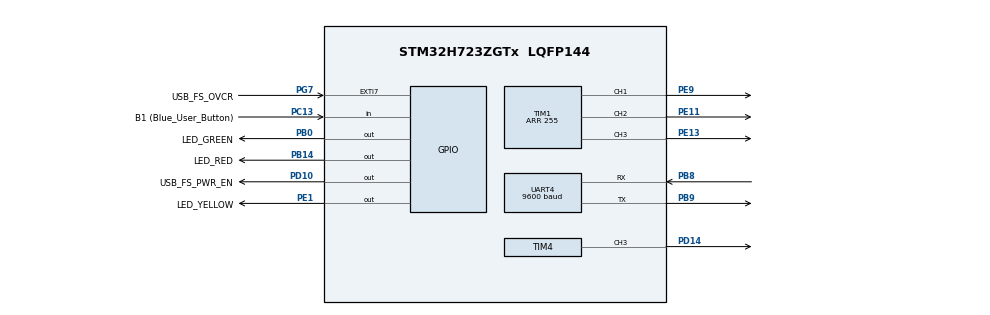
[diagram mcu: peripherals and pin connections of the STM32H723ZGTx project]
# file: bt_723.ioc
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Dma.Request0=TIM4_CH3
Dma.TIM4_CH3.0.Direction=DMA_MEMORY_TO_PERIPH
Dma.TIM4_CH3.0.EventEnable=DISABLE
Dma.TIM4_CH3.0.FIFOMode=DMA_FIFOMODE_DISABLE
Dma.TIM4_CH3.0.Instance=DMA1_Stream0
Dma.TIM4_CH3.0.MemDataAlignment=DMA_MDATAALIGN_HALFWORD
Dma.TIM4_CH3.0.MemInc=DMA_MINC_ENABLE
Dma.TIM4_CH3.0.Mode=DMA_NORMAL
Dma.TIM4_CH3.0.PeriphDataAlignment=DMA_PDATAALIGN_HALFWORD
Dma.TIM4_CH3.0.PeriphInc=DMA_PINC_DISABLE
Dma.TIM4_CH3.0.Polarity=HAL_DMAMUX_REQ_GEN_RISING
Dma.TIM4_CH3.0.Priority=DMA_PRIORITY_LOW
Dma.TIM4_CH3.0.RequestNumber=1
Dma.TIM4_CH3.0.SignalID=NONE
Dma.TIM4_CH3.0.SyncEnable=DISABLE
Dma.TIM4_CH3.0.SyncPolarity=HAL_DMAMUX_SYNC_NO_EVENT
Dma.TIM4_CH3.0.SyncRequestNumber=1
Dma.TIM4_CH3.0.SyncSignalID=NONE
Mcu.Family=STM32H7
Mcu.Name=STM32H723ZGTx
Mcu.Package=LQFP144
NVIC.DMA1_Stream0_IRQn=true\:0\:0\:false\:false\:true\:false\:true\:true
NVIC.PriorityGroup=NVIC_PRIORITYGROUP_4
NVIC.TIM4_IRQn=true\:0\:0\:false\:false\:true\:true\:true\:true
NVIC.UART4_IRQn=true\:0\:0\:false\:false\:true\:true\:true\:true
PA13(JTMS/SWDIO).GPIO_Label=SWDIO
PA13(JTMS/SWDIO).Mode=Trace_Asynchronous_SW
PA13(JTMS/SWDIO).Signal=DEBUG_JTMS-SWDIO
PA14(JTCK/SWCLK).GPIO_Label=SWCLK
PA14(JTCK/SWCLK).Mode=Trace_Asynchronous_SW
PA14(JTCK/SWCLK).Signal=DEBUG_JTCK-SWCLK
PB0.GPIO_Label=LED_GREEN
PB0.Signal=GPIO_Output
PB14.GPIO_Label=LED_RED
PB14.Signal=GPIO_Output
PB3(JTDO/TRACESWO).GPIO_Label=SWO
PB3(JTDO/TRACESWO).Mode=Trace_Asynchronous_SW
PB3(JTDO/TRACESWO).Signal=DEBUG_JTDO-SWO
PB8.Mode=Asynchronous
PB8.Signal=UART4_RX
PB9.Mode=Asynchronous
PB9.Signal=UART4_TX
PC13.GPIO_Label=B1 (Blue_User_Button)
PC13.Signal=GPIO_Input
PC14-OSC32_IN.Mode=LSE-External-Oscillator
PC14-OSC32_IN.Signal=RCC_OSC32_IN
PC15-OSC32_OUT.Mode=LSE-External-Oscillator
PC15-OSC32_OUT.Signal=RCC_OSC32_OUT
PD10.GPIO_Label=USB_FS_PWR_EN
PD10.Signal=GPIO_Output
PD14.Signal=S_TIM4_CH3
PD15.Signal=S_TIM4_CH4
PE1.GPIO_Label=LED_YELLOW
PE1.Signal=GPIO_Output
PE11.Signal=S_TIM1_CH2
PE13.Signal=S_TIM1_CH3
PE9.Signal=S_TIM1_CH1
PG12.Signal=USART10_TX
PG7.GPIO_Label=USB_FS_OVCR
PG7.Signal=GPXTI7
PH0-OSC_IN.GPIO_Label=MCO
PH0-OSC_IN.Mode=HSE-External-Oscillator
PH0-OSC_IN.Signal=RCC_OSC_IN
PH1-OSC_OUT.Mode=HSE-External-Oscillator
PH1-OSC_OUT.Signal=RCC_OSC_OUT
ProjectManager.HeapSize=0x200
ProjectManager.StackSize=0x400
ProjectManager.TargetToolchain=STM32CubeIDE
RCC.ADCFreq_Value=76000000
RCC.APB1Freq_Value=24000000
RCC.APB2Freq_Value=24000000
RCC.APB3Freq_Value=24000000
RCC.APB4Freq_Value=24000000
RCC.CortexFreq_Value=96000000
RCC.D1CPRE=RCC_SYSCLK_DIV2
RCC.D1PPRE=RCC_APB3_DIV2
RCC.D2PPRE1=RCC_APB1_DIV2
RCC.D2PPRE2=RCC_APB2_DIV2
RCC.D3PPRE=RCC_APB4_DIV2
RCC.DIVM1=2
RCC.DIVM2=1
RCC.DIVN1=48
RCC.DIVN2=19
RCC.DIVP1=1
RCC.DIVQ1=4
RCC.HCLKFreq_Value=48000000
RCC.HPRE=RCC_HCLK_DIV2
RCC.HSE_VALUE=8000000
RCC.PLLFRACN=0
RCC.PLLSourceVirtual=RCC_PLLSOURCE_HSE
RCC.SYSCLKFreq_VALUE=192000000
RCC.SYSCLKSource=RCC_SYSCLKSOURCE_PLLCLK
RCC.USBCLockSelection=RCC_USBCLKSOURCE_HSI48
RCC.USBFreq_Value=48000000
SH.S_TIM1_CH1.0=TIM1_CH1,PWM Generation1 CH1
SH.S_TIM1_CH2.0=TIM1_CH2,PWM Generation2 CH2
SH.S_TIM1_CH3.0=TIM1_CH3,PWM Generation3 CH3
SH.S_TIM4_CH3.0=TIM4_CH3,PWM Generation3 CH3
SH.S_TIM4_CH4.0=TIM4_CH4
TIM1.Channel-PWM\ Generation1\ CH1=TIM_CHANNEL_1
TIM1.Channel-PWM\ Generation2\ CH2=TIM_CHANNEL_2
TIM1.Channel-PWM\ Generation3\ CH3=TIM_CHANNEL_3
TIM1.Period=255
TIM4.Channel-PWM\ Generation3\ CH3=TIM_CHANNEL_3
TIM4.Period=60-1
UART4.BaudRate=9600
VP_TIM4_VS_ClockSourceINT.Mode=Internal
board=NUCLEO-H723ZG

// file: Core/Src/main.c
/* USER CODE BEGIN Header */
/**
 ******************************************************************************
 * @file           : main.c
 * @brief          : Main program body
 ******************************************************************************
 * @attention
 *
 * Copyright (c) 2024 STMicroelectronics.
 * All rights reserved.
 *
 * This software is licensed under terms that can be found in the LICENSE file
 * in the root directory of this software component.
 * If no LICENSE file comes with this software, it is provided AS-IS.
 *
 ******************************************************************************
 */
/* USER CODE END Header */
#include "main.h"

/* USER CODE BEGIN Includes */
#include "string.h"
#include "stdio.h"
#include "string.h"
#include <stdlib.h>
#include "math.h"

/* USER CODE END Includes */

/* USER CODE BEGIN PD */
#define BUFFER_SIZE 64
#define MAX_LED 8
#define USE_BRIGHTNESS 1
#define PI 3.14159265

/* USER CODE END PD */

TIM_HandleTypeDef htim1;
TIM_HandleTypeDef htim4;
DMA_HandleTypeDef hdma_tim4_ch3;

UART_HandleTypeDef huart4;

/* USER CODE BEGIN PV */
uint8_t message[] = "Hello Bluetooth!";
uint8_t Data_USART[BUFFER_SIZE];
uint16_t write_index_USART = 0;
uint8_t LED_Data[MAX_LED][4];
uint8_t LED_Mod[MAX_LED][4];  // for brightness
uint16_t effStep = 0;
uint16_t pwmData[(24*MAX_LED)+50]; //uint16_t pwmData[(24*MAX_LED)+50];
uint16_t effStart =0;

int datasentflag=0;

/* USER CODE END PV */

void SystemClock_Config(void);
static void MX_GPIO_Init(void);
static void MX_DMA_Init(void);
static void MX_TIM4_Init(void);
static void MX_TIM1_Init(void);
static void MX_UART4_Init(void);
/* USER CODE BEGIN PFP */
void SetRGB(uint8_t red, uint8_t green, uint8_t blue);
void ParseAndSetRGB(uint8_t *data);
void Set_LED(int LEDnum, int Red, int Green, int Blue);
void Set_Brightness(int brightness);
void WS2812_Send(void);
void Reset_LED(void);
uint8_t rainbow_effect_left(void);
//uint8_t rainbow_effect_right(void);
/* USER CODE END PFP */

/* USER CODE BEGIN 0 */

void HAL_UARTEx_RxEventCallback(UART_HandleTypeDef *huart, uint16_t Size)
{

	if (huart->Instance == UART4) // UART connection with Bluetooth
	{
		Data_USART[Size] = '\0'; // Null-terminate the received string
		HAL_UARTEx_ReceiveToIdle_IT(&huart4, Data_USART , BUFFER_SIZE );
		ParseAndSetRGB(Data_USART);
		// Continue receiving data in interrupt mode
		if(Data_USART[0]>0 && Data_USART[0]<=84 ){
			HAL_GPIO_WritePin(LED_GREEN_GPIO_Port, LED_GREEN_Pin, GPIO_PIN_SET);
			HAL_GPIO_WritePin(LED_YELLOW_GPIO_Port, LED_YELLOW_Pin, GPIO_PIN_RESET);
			HAL_GPIO_WritePin(LED_RED_GPIO_Port, LED_RED_Pin, GPIO_PIN_RESET);
		}
		else if(Data_USART[0]>=85 && Data_USART[0]<=169 )
		{
			HAL_GPIO_WritePin(LED_GREEN_GPIO_Port, LED_GREEN_Pin, GPIO_PIN_RESET);
			HAL_GPIO_WritePin(LED_YELLOW_GPIO_Port, LED_YELLOW_Pin, GPIO_PIN_SET);
			HAL_GPIO_WritePin(LED_RED_GPIO_Port, LED_RED_Pin, GPIO_PIN_RESET);
		}
		else if(Data_USART[0]>=170 && Data_USART[0]<=255 ){
			HAL_GPIO_WritePin(LED_GREEN_GPIO_Port, LED_GREEN_Pin, GPIO_PIN_RESET);
			HAL_GPIO_WritePin(LED_YELLOW_GPIO_Port, LED_YELLOW_Pin, GPIO_PIN_RESET);
			HAL_GPIO_WritePin(LED_RED_GPIO_Port, LED_RED_Pin, GPIO_PIN_SET);
		}else{
			HAL_GPIO_WritePin(LED_GREEN_GPIO_Port, LED_GREEN_Pin, GPIO_PIN_SET);
			HAL_GPIO_WritePin(LED_YELLOW_GPIO_Port, LED_YELLOW_Pin, GPIO_PIN_SET);
			HAL_GPIO_WritePin(LED_RED_GPIO_Port, LED_RED_Pin, GPIO_PIN_SET);
			HAL_Delay(250);
			HAL_GPIO_WritePin(LED_GREEN_GPIO_Port, LED_GREEN_Pin, GPIO_PIN_RESET);
			HAL_GPIO_WritePin(LED_YELLOW_GPIO_Port, LED_YELLOW_Pin, GPIO_PIN_RESET);
			HAL_GPIO_WritePin(LED_RED_GPIO_Port, LED_RED_Pin, GPIO_PIN_RESET);
			HAL_Delay(250);
		}
	}

}
void SendDataToBluetooth(uint8_t *data, uint16_t size)
{
	HAL_UART_Transmit(&huart4, data, size, HAL_MAX_DELAY);
}

void SetRGB(uint8_t red, uint8_t green, uint8_t blue)
{
	/*
	 *    HAL_TIM_PWM_Start(&htim1, TIM_CHANNEL_1);
  	  	  HAL_TIM_PWM_Start(&htim3, TIM_CHANNEL_1);
  	  	  HAL_TIM_PWM_Start(&htim15, TIM_CHANNEL_2);
	 */
	__HAL_TIM_SET_COMPARE(&htim1, TIM_CHANNEL_1, red);
	__HAL_TIM_SET_COMPARE(&htim1, TIM_CHANNEL_2, green);
	__HAL_TIM_SET_COMPARE(&htim1, TIM_CHANNEL_3, blue);
}

void HAL_TIM_PWM_PulseFinishedCallback(TIM_HandleTypeDef *htim)
{
	HAL_TIM_PWM_Stop_DMA(&htim4, TIM_CHANNEL_3);
	datasentflag=1;
}

void Set_LED (int LEDnum, int Red, int Green, int Blue)//int LEDnum, int Red, int Green, int Blue
{
	LED_Data[LEDnum][0] = LEDnum;
	LED_Data[LEDnum][1] = Green;
	LED_Data[LEDnum][2] = Red;
	LED_Data[LEDnum][3] = Blue;
}

void Set_Brightness (int brightness)  // 0-45
{
#if USE_BRIGHTNESS

	if (brightness > 45) brightness = 45;
	for (int i=0; i<MAX_LED; i++)
	{
		LED_Mod[i][0] = LED_Data[i][0];
		for (int j=1; j<4; j++)
		{
			float angle = 90-brightness;  // in degrees
			angle = angle*PI / 180;  // in rad
			LED_Mod[i][j] = (LED_Data[i][j])/(tan(angle));
		}
	}

#endif

}

void WS2812_Send (void)
{
	uint32_t indx=0;
	uint32_t color;

	for (int i= 0; i<MAX_LED; i++)
	{
		color = ((LED_Data[i][1]<<16) | (LED_Data[i][2]<<8) | (LED_Data[i][3]));

		for (int j=23; j>=0; j--)
		{
			if (color & (1<<j))
			{
				pwmData[indx] = 40;
			}
			else
			{
				pwmData[indx] = 20;
			}
			indx++;
		}
	}

	for (int i=0; i<50; i++)
	{
		pwmData[indx] = 0;
		indx++;
	}

	HAL_TIM_PWM_Start_DMA(&htim4, TIM_CHANNEL_3, (uint32_t *)pwmData, indx);
	while (!datasentflag) {};
	datasentflag = 0;
}

void Reset_LED (void)
{
	for (int i=0; i<MAX_LED; i++)
	{
		LED_Data[i][0] = i;
		LED_Data[i][1] = 0;
		LED_Data[i][2] = 0;
		LED_Data[i][3] = 0;
	}
}

// ported from the arduino code for 8 LEDs located at ->>>>  https://adrianotiger.github.io/Neopixel-Effect-Generator/

uint8_t rainbow_effect_left() {
	float factor1, factor2;
	uint16_t ind;
	for(uint16_t j=0;j<8;j++) {
		ind = effStep + j * 1.625;
		switch((int)((ind % 13) / 4.333333333333333)) {
		case 0: factor1 = 1.0 - ((float)(ind % 13 - 0 * 4.333333333333333) / 4.333333333333333);
		factor2 = (float)((int)(ind - 0) % 13) / 4.333333333333333;
		/************ chnaged here *********/
		Set_LED(j, 255 * factor1 + 0 * factor2, 0 * factor1 + 255 * factor2, 0 * factor1 + 0 * factor2);
		WS2812_Send();
		break;
		case 1: factor1 = 1.0 - ((float)(ind % 13 - 1 * 4.333333333333333) / 4.333333333333333);
		factor2 = (float)((int)(ind - 4.333333333333333) % 13) / 4.333333333333333;
		Set_LED(j, 0 * factor1 + 0 * factor2, 255 * factor1 + 0 * factor2, 0 * factor1 + 255 * factor2);
		WS2812_Send();
		break;
		case 2: factor1 = 1.0 - ((float)(ind % 13 - 2 * 4.333333333333333) / 4.333333333333333);
		factor2 = (float)((int)(ind - 8.666666666666666) % 13) / 4.333333333333333;
		Set_LED(j, 0 * factor1 + 255 * factor2, 0 * factor1 + 0 * factor2, 255 * factor1 + 0 * factor2);
		WS2812_Send();
		break;
		}
	}
	if(effStep >= 13) {effStep=0; return 0x03; }
	else effStep++;
	return 0x01;
}

uint8_t led_red(){
	uint8_t r,g,b;
	double e;
	e = (effStep * 1) / (double)100;
	r = ( e ) * 255 + 255 * ( 1.0 - e );
	g = ( e ) * 0 + 0 * ( 1.0 - e );
	b = ( e ) * 0 + 0 * ( 1.0 - e );
	for(uint16_t j=0;j<8;j++) {
		if((j % 1) == 0){
			Set_LED(j, r, g, b);
			WS2812_Send();}
		else{
			Set_LED(j, 0, 0, 0);
			WS2812_Send();}
	}
	if(effStep >= 100) {effStep=0; return 0x03; }
	else effStep++;
	return 0x01;

}

uint8_t led_green()
{
	uint8_t e,r,g,b;
	if(effStep < 144.8) {
		for(uint16_t j=0;j<8;j++)
			Set_LED(j, 0, 255, 0);
		WS2812_Send();
	}
	else if(effStep  < 151.8) {
		e = (effStep * 5) - 724;
		r = 0 * ( e / 35 ) + 0 * ( 1.0 - e / 35 );
		g = 255 * ( e / 35 ) + 255 * ( 1.0 - e / 35 );
		b = 17 * ( e / 35 ) + 0 * ( 1.0 - e / 35 );
		for(uint16_t j=0;j<8;j++)
			if((j%1)==0) {Set_LED(j, r, g, b);
			WS2812_Send();}
			else
			{Set_LED(j, 0, 255, 0);
			WS2812_Send();}
	}
	else if(effStep < 152) {
		for(uint16_t j=0;j<8;j++)
			if((j%1)==0){ Set_LED(j, 0, 255, 17);
			WS2812_Send();}
			else {Set_LED(j, 0, 255, 0);WS2812_Send();}
	}
	else if(effStep < 154) {
		e = (effStep * 5) - 760;
		r = 0 * ( e / 10 ) + 0 * ( 1.0 - e / 10 );
		g = 255 * ( e / 10 ) + 255 * ( 1.0 - e / 10 );
		b = 0 * ( e / 10 ) + 17 * ( 1.0 - e / 10 );
		for(uint16_t j=0;j<8;j++)
			if((j%1)==0){ Set_LED(j, r, g, b);
			WS2812_Send();}
			else{ Set_LED(j, 0, 255, 0);WS2812_Send();}
	}
	else {
		for(uint16_t j=0;j<8;j++)
			Set_LED(j, 0, 255, 0);
		WS2812_Send();
	}
	if(effStep >= 174) {effStep=0; return 0x03; }
	else effStep++;
	return 0x01;

}

uint8_t led_blue()
{
	uint8_t e,r,g,b;
	if(effStep < 144.8) {
		for(uint16_t j=0;j<8;j++)
			Set_LED(j, 0, 0, 255);
		WS2812_Send();
	}
	else if(effStep  < 151.8) {
		e = (effStep * 5) - 724;
		r = 0 * ( e / 35 ) + 0 * ( 1.0 - e / 35 );
		g = 0 * ( e / 35 ) + 0 * ( 1.0 - e / 35 );
		b = 255 * ( e / 35 ) + 255 * ( 1.0 - e / 35 );
		for(uint16_t j=0;j<8;j++)
			if((j%1)==0) {Set_LED(j, r, g, b);
			WS2812_Send();}
			else {Set_LED(j, 0, 0, 255);WS2812_Send();}
	}
	else if(effStep < 152) {
		for(uint16_t j=0;j<8;j++)
			if((j%1)==0){ Set_LED(j, 0, 0, 255);WS2812_Send();}
			else {Set_LED(j, 0, 0, 255);WS2812_Send();}
	}
	else if(effStep < 154) {
		e = (effStep * 5) - 760;
		r = 0 * ( e / 10 ) + 0 * ( 1.0 - e / 10 );
		g = 0 * ( e / 10 ) + 0 * ( 1.0 - e / 10 );
		b = 255 * ( e / 10 ) + 255 * ( 1.0 - e / 10 );
		for(uint16_t j=0;j<8;j++)
			if((j%1)==0) {Set_LED(j, r, g, b);WS2812_Send();}
			else {Set_LED(j, 0, 0, 255);WS2812_Send();}
	}
	else {
		for(uint16_t j=0;j<8;j++)
		{Set_LED(j, 0, 0, 255);WS2812_Send();}
	}
	if(effStep >= 174) {effStep=0; return 0x03; }
	else effStep++;
	return 0x01;
}

uint8_t led_magenta(){
	  uint8_t e,r,g,b;
	  if(effStep < 10) {
	    for(uint16_t j=0;j<8;j++) {
	    	Set_LED(j, 0, 179, 18);WS2812_Send();}
	  }
	  else if(effStep  < 12) {
	    e = (effStep * 5) - 50;
	    r = 0 * ( e / 10 ) + 0 * ( 1.0 - e / 10 );
	    g = 179 * ( e / 10 ) + 179 * ( 1.0 - e / 10 );
	    b = 18 * ( e / 10 ) + 18 * ( 1.0 - e / 10 );
	    for(uint16_t j=0;j<8;j++)
	      if((j%1)==0) {Set_LED(j, r, g, b);WS2812_Send();}
	      else {Set_LED(j, 0, 179, 18);WS2812_Send();}
	  }
	  else if(effStep < 14) {
	    for(uint16_t j=0;j<8;j++)
	      if((j%1)==0){ Set_LED(j, 0, 179, 18);WS2812_Send();}
	      else {Set_LED(j, 0, 179, 18);WS2812_Send();}
	  }
	  else if(effStep < 16) {
	    e = (effStep * 5) - 70;
	    r = 0 * ( e / 10 ) + 0 * ( 1.0 - e / 10 );
	    g = 179 * ( e / 10 ) + 179 * ( 1.0 - e / 10 );
	    b = 18 * ( e / 10 ) + 18 * ( 1.0 - e / 10 );
	    for(uint16_t j=0;j<8;j++)
	      if((j%1)==0){ Set_LED(j, r, g, b);WS2812_Send();}
	      else{ Set_LED(j, 0, 179, 18);WS2812_Send();}
	  }
	  else {
	    for(uint16_t j=0;j<8;j++)
	    	{Set_LED(j, 0, 179, 18);WS2812_Send();}
	  }
	  if(effStep >= 36) {effStep=0; return 0x03; }
	  else effStep++;
	  return 0x01;
}

uint8_t led_fade()
{
	uint8_t r,g,b;
	  double e;
	  e = (effStep * 1) / (double)587;
	  r = ( e ) * 113 + 207 * ( 1.0 - e );
	  g = ( e ) * 255 + 78 * ( 1.0 - e );
	  b = ( e ) * 159 + 0 * ( 1.0 - e );
	  for(uint16_t j=0;j<8;j++) {
	    if((j % 1) == 0){
	    	Set_LED(j, r, g, b);WS2812_Send();}
	    else{
	    	Set_LED(j, 0, 0, 0);WS2812_Send();}
	  }
	  if(effStep >= 587) {effStep=0; return 0x03; }
	  else effStep++;
	  return 0x01;

}

void ParseAndSetRGB(uint8_t *data)
{
	char *token;
	uint8_t rgb[3];
	int i = 0;

	token = strtok((char *)data, ",");
	while (token != NULL && i < 3)
	{
		rgb[i++] = atoi(token);
		token = strtok(NULL, ",");
	}

	if (i == 3) // Ensure we have all three RGB values
	{
		SetRGB(rgb[0], rgb[1], rgb[2]);
		for(int k=0;k<9;k++){
		Set_LED(k,rgb[0], rgb[1], rgb[2]);
		}
		WS2812_Send();
	}
}
/* USER CODE END 0 */

 int main(void)
{

	/* MCU Configuration--------------------------------------------------------*/

	 /* Reset of all peripherals, Initializes the Flash interface and the Systick. */
	 HAL_Init();

	 /* Configure the system clock */
	 SystemClock_Config();

	 /* Initialize all configured peripherals */
	 MX_GPIO_Init();
	 MX_DMA_Init();
	 MX_TIM4_Init();
	 MX_TIM1_Init();
	 MX_UART4_Init();
	 /* USER CODE BEGIN 2 */
	 HAL_UARTEx_ReceiveToIdle_IT(&huart4, Data_USART, BUFFER_SIZE);
	 HAL_TIM_PWM_Start(&htim1, TIM_CHANNEL_1);
	 HAL_TIM_PWM_Start(&htim1, TIM_CHANNEL_2);
	 HAL_TIM_PWM_Start(&htim1, TIM_CHANNEL_3);
	 Reset_LED();
//	  Set_LED(0, 255, 0, 0);
//	  Set_LED(1, 0, 255, 0);
//	  Set_LED(2, 0, 0, 255);
//
//	  Set_LED(3, 46, 89, 128);
//
//	  Set_LED(4, 156, 233, 100);
//	  Set_LED(5, 102, 0, 235);
//	  Set_LED(6, 47, 38, 77);
//
//	  Set_LED(7, 255, 200, 0);

	 Set_Brightness(5);  // 0-45
	 WS2812_Send();

	 /* USER CODE END 2 */

	 /* Infinite loop */
	 while (1)
	 {
		 //rainbow_effect_right();
		 //rainbow_effect_left();
		 //led_red();
		 //led_green();
		 //led_blue();
		// led_magenta();
	//led_fade();
		 /* USER CODE BEGIN 3 */
		 ParseAndSetRGB(Data_USART);
		 Reset_LED();

	 }
	 /* USER CODE END 3 */
}

 /**
  * @brief System Clock Configuration
  * @retval None
  */
 void SystemClock_Config(void)
 {
	 RCC_OscInitTypeDef RCC_OscInitStruct = {0};
	 RCC_ClkInitTypeDef RCC_ClkInitStruct = {0};

	 /** Supply configuration update enable
	  */
	 HAL_PWREx_ConfigSupply(PWR_LDO_SUPPLY);

	 /** Configure the main internal regulator output voltage
	  */
	 __HAL_PWR_VOLTAGESCALING_CONFIG(PWR_REGULATOR_VOLTAGE_SCALE3);

	 while(!__HAL_PWR_GET_FLAG(PWR_FLAG_VOSRDY)) {}

	 /** Initializes the RCC Oscillators according to the specified parameters
	  * in the RCC_OscInitTypeDef structure.
	  */
	 RCC_OscInitStruct.OscillatorType = RCC_OSCILLATORTYPE_HSE;
	 RCC_OscInitStruct.HSEState = RCC_HSE_ON;
	 RCC_OscInitStruct.PLL.PLLState = RCC_PLL_ON;
	 RCC_OscInitStruct.PLL.PLLSource = RCC_PLLSOURCE_HSE;
	 RCC_OscInitStruct.PLL.PLLM = 2;
	 RCC_OscInitStruct.PLL.PLLN = 48;
	 RCC_OscInitStruct.PLL.PLLP = 1;
	 RCC_OscInitStruct.PLL.PLLQ = 4;
	 RCC_OscInitStruct.PLL.PLLR = 2;
	 RCC_OscInitStruct.PLL.PLLRGE = RCC_PLL1VCIRANGE_2;
	 RCC_OscInitStruct.PLL.PLLVCOSEL = RCC_PLL1VCOWIDE;
	 RCC_OscInitStruct.PLL.PLLFRACN = 0;
	 if (HAL_RCC_OscConfig(&RCC_OscInitStruct) != HAL_OK)
	 {
		 Error_Handler();
	 }

	 /** Initializes the CPU, AHB and APB buses clocks
	  */
	 RCC_ClkInitStruct.ClockType = RCC_CLOCKTYPE_HCLK|RCC_CLOCKTYPE_SYSCLK
			 |RCC_CLOCKTYPE_PCLK1|RCC_CLOCKTYPE_PCLK2
			 |RCC_CLOCKTYPE_D3PCLK1|RCC_CLOCKTYPE_D1PCLK1;
	 RCC_ClkInitStruct.SYSCLKSource = RCC_SYSCLKSOURCE_PLLCLK;
	 RCC_ClkInitStruct.SYSCLKDivider = RCC_SYSCLK_DIV2;
	 RCC_ClkInitStruct.AHBCLKDivider = RCC_HCLK_DIV2;
	 RCC_ClkInitStruct.APB3CLKDivider = RCC_APB3_DIV2;
	 RCC_ClkInitStruct.APB1CLKDivider = RCC_APB1_DIV2;
	 RCC_ClkInitStruct.APB2CLKDivider = RCC_APB2_DIV2;
	 RCC_ClkInitStruct.APB4CLKDivider = RCC_APB4_DIV2;

	 if (HAL_RCC_ClockConfig(&RCC_ClkInitStruct, FLASH_LATENCY_1) != HAL_OK)
	 {
		 Error_Handler();
	 }
 }

 /**
  * @brief TIM1 Initialization Function
  * @param None
  * @retval None
  */
 static void MX_TIM1_Init(void)
 {

	 TIM_MasterConfigTypeDef sMasterConfig = {0};
	 TIM_OC_InitTypeDef sConfigOC = {0};
	 TIM_BreakDeadTimeConfigTypeDef sBreakDeadTimeConfig = {0};

	 htim1.Instance = TIM1;
	 htim1.Init.Prescaler = 0;
	 htim1.Init.CounterMode = TIM_COUNTERMODE_UP;
	 htim1.Init.Period = 255;
	 htim1.Init.ClockDivision = TIM_CLOCKDIVISION_DIV1;
	 htim1.Init.RepetitionCounter = 0;
	 htim1.Init.AutoReloadPreload = TIM_AUTORELOAD_PRELOAD_DISABLE;
	 if (HAL_TIM_PWM_Init(&htim1) != HAL_OK)
	 {
		 Error_Handler();
	 }
	 sMasterConfig.MasterOutputTrigger = TIM_TRGO_RESET;
	 sMasterConfig.MasterOutputTrigger2 = TIM_TRGO2_RESET;
	 sMasterConfig.MasterSlaveMode = TIM_MASTERSLAVEMODE_DISABLE;
	 if (HAL_TIMEx_MasterConfigSynchronization(&htim1, &sMasterConfig) != HAL_OK)
	 {
		 Error_Handler();
	 }
	 sConfigOC.OCMode = TIM_OCMODE_PWM1;
	 sConfigOC.Pulse = 0;
	 sConfigOC.OCPolarity = TIM_OCPOLARITY_HIGH;
	 sConfigOC.OCNPolarity = TIM_OCNPOLARITY_HIGH;
	 sConfigOC.OCFastMode = TIM_OCFAST_DISABLE;
	 sConfigOC.OCIdleState = TIM_OCIDLESTATE_RESET;
	 sConfigOC.OCNIdleState = TIM_OCNIDLESTATE_RESET;
	 if (HAL_TIM_PWM_ConfigChannel(&htim1, &sConfigOC, TIM_CHANNEL_1) != HAL_OK)
	 {
		 Error_Handler();
	 }
	 if (HAL_TIM_PWM_ConfigChannel(&htim1, &sConfigOC, TIM_CHANNEL_2) != HAL_OK)
	 {
		 Error_Handler();
	 }
	 if (HAL_TIM_PWM_ConfigChannel(&htim1, &sConfigOC, TIM_CHANNEL_3) != HAL_OK)
	 {
		 Error_Handler();
	 }
	 sBreakDeadTimeConfig.OffStateRunMode = TIM_OSSR_DISABLE;
	 sBreakDeadTimeConfig.OffStateIDLEMode = TIM_OSSI_DISABLE;
	 sBreakDeadTimeConfig.LockLevel = TIM_LOCKLEVEL_OFF;
	 sBreakDeadTimeConfig.DeadTime = 0;
	 sBreakDeadTimeConfig.BreakState = TIM_BREAK_DISABLE;
	 sBreakDeadTimeConfig.BreakPolarity = TIM_BREAKPOLARITY_HIGH;
	 sBreakDeadTimeConfig.BreakFilter = 0;
	 sBreakDeadTimeConfig.Break2State = TIM_BREAK2_DISABLE;
	 sBreakDeadTimeConfig.Break2Polarity = TIM_BREAK2POLARITY_HIGH;
	 sBreakDeadTimeConfig.Break2Filter = 0;
	 sBreakDeadTimeConfig.AutomaticOutput = TIM_AUTOMATICOUTPUT_DISABLE;
	 if (HAL_TIMEx_ConfigBreakDeadTime(&htim1, &sBreakDeadTimeConfig) != HAL_OK)
	 {
		 Error_Handler();
	 }
	 HAL_TIM_MspPostInit(&htim1);

 }

 /**
  * @brief TIM4 Initialization Function
  * @param None
  * @retval None
  */
 static void MX_TIM4_Init(void)
 {

	 TIM_ClockConfigTypeDef sClockSourceConfig = {0};
	 TIM_MasterConfigTypeDef sMasterConfig = {0};
	 TIM_OC_InitTypeDef sConfigOC = {0};

	 htim4.Instance = TIM4;
	 htim4.Init.Prescaler = 0; // Prescaler = 0
	 htim4.Init.CounterMode = TIM_COUNTERMODE_UP;
	 htim4.Init.Period = 60-1; // Period = 100 (10 MHz)
	 htim4.Init.ClockDivision = TIM_CLOCKDIVISION_DIV1;
	 htim4.Init.AutoReloadPreload = TIM_AUTORELOAD_PRELOAD_DISABLE;
	 if (HAL_TIM_Base_Init(&htim4) != HAL_OK)
	 {
		 Error_Handler();
	 }
	 sClockSourceConfig.ClockSource = TIM_CLOCKSOURCE_INTERNAL;
	 if (HAL_TIM_ConfigClockSource(&htim4, &sClockSourceConfig) != HAL_OK)
	 {
		 Error_Handler();
	 }
	 if (HAL_TIM_PWM_Init(&htim4) != HAL_OK)
	 {
		 Error_Handler();
	 }
	 sMasterConfig.MasterOutputTrigger = TIM_TRGO_RESET;
	 sMasterConfig.MasterSlaveMode = TIM_MASTERSLAVEMODE_DISABLE;
	 if (HAL_TIMEx_MasterConfigSynchronization(&htim4, &sMasterConfig) != HAL_OK)
	 {
		 Error_Handler();
	 }
	 sConfigOC.OCMode = TIM_OCMODE_PWM1;
	 sConfigOC.Pulse = 0;
	 sConfigOC.OCPolarity = TIM_OCPOLARITY_HIGH;
	 sConfigOC.OCFastMode = TIM_OCFAST_DISABLE;
	 if (HAL_TIM_PWM_ConfigChannel(&htim4, &sConfigOC, TIM_CHANNEL_3) != HAL_OK)
	 {
		 Error_Handler();
	 }
	 HAL_TIM_MspPostInit(&htim4);

 }

 /**
  * @brief UART4 Initialization Function
  * @param None
  * @retval None
  */
 static void MX_UART4_Init(void)
 {

	 huart4.Instance = UART4;
	 huart4.Init.BaudRate = 9600;
	 huart4.Init.WordLength = UART_WORDLENGTH_8B;
	 huart4.Init.StopBits = UART_STOPBITS_1;
	 huart4.Init.Parity = UART_PARITY_NONE;
	 huart4.Init.Mode = UART_MODE_TX_RX;
	 huart4.Init.HwFlowCtl = UART_HWCONTROL_NONE;
	 huart4.Init.OverSampling = UART_OVERSAMPLING_16;
	 huart4.Init.OneBitSampling = UART_ONE_BIT_SAMPLE_DISABLE;
	 huart4.Init.ClockPrescaler = UART_PRESCALER_DIV1;
	 huart4.AdvancedInit.AdvFeatureInit = UART_ADVFEATURE_NO_INIT;
	 if (HAL_UART_Init(&huart4) != HAL_OK)
	 {
		 Error_Handler();
	 }
	 if (HAL_UARTEx_SetTxFifoThreshold(&huart4, UART_TXFIFO_THRESHOLD_1_8) != HAL_OK)
	 {
		 Error_Handler();
	 }
	 if (HAL_UARTEx_SetRxFifoThreshold(&huart4, UART_RXFIFO_THRESHOLD_1_8) != HAL_OK)
	 {
		 Error_Handler();
	 }
	 if (HAL_UARTEx_DisableFifoMode(&huart4) != HAL_OK)
	 {
		 Error_Handler();
	 }

 }

 /**
  * Enable DMA controller clock
  */
 static void MX_DMA_Init(void)
 {

	 /* DMA controller clock enable */
	 __HAL_RCC_DMA1_CLK_ENABLE();

	 /* DMA interrupt init */
	 /* DMA1_Stream0_IRQn interrupt configuration */
	 HAL_NVIC_SetPriority(DMA1_Stream0_IRQn, 0, 0);
	 HAL_NVIC_EnableIRQ(DMA1_Stream0_IRQn);

 }

 /**
  * @brief GPIO Initialization Function
  * @param None
  * @retval None
  */
 static void MX_GPIO_Init(void)
 {
	 GPIO_InitTypeDef GPIO_InitStruct = {0};

	 /* GPIO Ports Clock Enable */
	 __HAL_RCC_GPIOC_CLK_ENABLE();
	 __HAL_RCC_GPIOH_CLK_ENABLE();
	 __HAL_RCC_GPIOB_CLK_ENABLE();
	 __HAL_RCC_GPIOE_CLK_ENABLE();
	 __HAL_RCC_GPIOD_CLK_ENABLE();
	 __HAL_RCC_GPIOG_CLK_ENABLE();
	 __HAL_RCC_GPIOA_CLK_ENABLE();

	 /*Configure GPIO pin Output Level */
	 HAL_GPIO_WritePin(GPIOB, LED_GREEN_Pin|LED_RED_Pin, GPIO_PIN_RESET);

	 /*Configure GPIO pin Output Level */
	 HAL_GPIO_WritePin(USB_FS_PWR_EN_GPIO_Port, USB_FS_PWR_EN_Pin, GPIO_PIN_RESET);

	 /*Configure GPIO pin Output Level */
	 HAL_GPIO_WritePin(LED_YELLOW_GPIO_Port, LED_YELLOW_Pin, GPIO_PIN_RESET);

	 /*Configure GPIO pin : B1_Pin */
	 GPIO_InitStruct.Pin = B1_Pin;
	 GPIO_InitStruct.Mode = GPIO_MODE_INPUT;
	 GPIO_InitStruct.Pull = GPIO_NOPULL;
	 HAL_GPIO_Init(B1_GPIO_Port, &GPIO_InitStruct);

	 /*Configure GPIO pins : LED_GREEN_Pin LED_RED_Pin */
	 GPIO_InitStruct.Pin = LED_GREEN_Pin|LED_RED_Pin;
	 GPIO_InitStruct.Mode = GPIO_MODE_OUTPUT_PP;
	 GPIO_InitStruct.Pull = GPIO_NOPULL;
	 GPIO_InitStruct.Speed = GPIO_SPEED_FREQ_LOW;
	 HAL_GPIO_Init(GPIOB, &GPIO_InitStruct);

	 /*Configure GPIO pin : USB_FS_PWR_EN_Pin */
	 GPIO_InitStruct.Pin = USB_FS_PWR_EN_Pin;
	 GPIO_InitStruct.Mode = GPIO_MODE_OUTPUT_PP;
	 GPIO_InitStruct.Pull = GPIO_NOPULL;
	 GPIO_InitStruct.Speed = GPIO_SPEED_FREQ_LOW;
	 HAL_GPIO_Init(USB_FS_PWR_EN_GPIO_Port, &GPIO_InitStruct);

	 /*Configure GPIO pin : USB_FS_OVCR_Pin */
	 GPIO_InitStruct.Pin = USB_FS_OVCR_Pin;
	 GPIO_InitStruct.Mode = GPIO_MODE_IT_RISING;
	 GPIO_InitStruct.Pull = GPIO_NOPULL;
	 HAL_GPIO_Init(USB_FS_OVCR_GPIO_Port, &GPIO_InitStruct);

	 /*Configure GPIO pin : PG12 */
	 GPIO_InitStruct.Pin = GPIO_PIN_12;
	 GPIO_InitStruct.Mode = GPIO_MODE_AF_PP;
	 GPIO_InitStruct.Pull = GPIO_NOPULL;
	 GPIO_InitStruct.Speed = GPIO_SPEED_FREQ_LOW;
	 GPIO_InitStruct.Alternate = GPIO_AF4_USART10;
	 HAL_GPIO_Init(GPIOG, &GPIO_InitStruct);

	 /*Configure GPIO pin : LED_YELLOW_Pin */
	 GPIO_InitStruct.Pin = LED_YELLOW_Pin;
	 GPIO_InitStruct.Mode = GPIO_MODE_OUTPUT_PP;
	 GPIO_InitStruct.Pull = GPIO_NOPULL;
	 GPIO_InitStruct.Speed = GPIO_SPEED_FREQ_LOW;
	 HAL_GPIO_Init(LED_YELLOW_GPIO_Port, &GPIO_InitStruct);

 }

 /**
  * @brief  This function is executed in case of error occurrence.
  * @retval None
  */
 void Error_Handler(void)
 {
	 __disable_irq();
	 while (1)
	 {
	 }
 }
